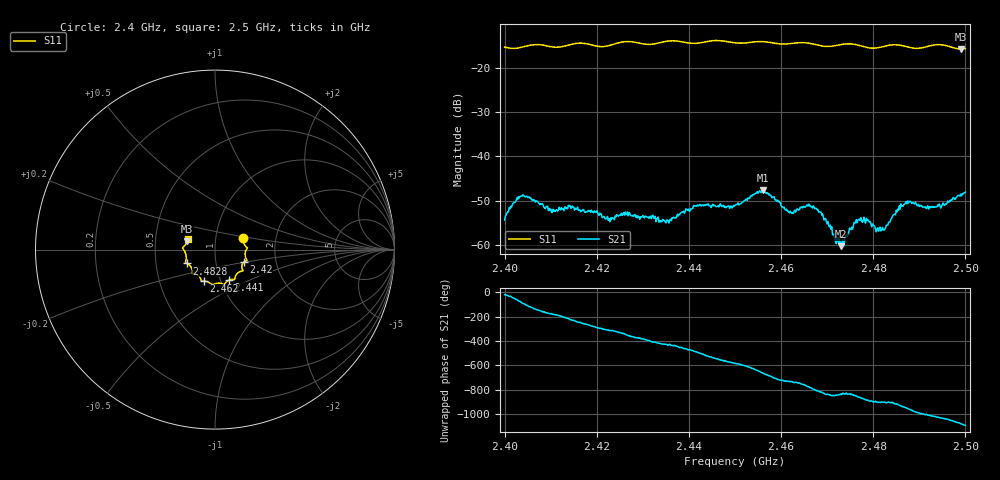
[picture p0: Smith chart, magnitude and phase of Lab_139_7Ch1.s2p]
# Hz S RI R 50
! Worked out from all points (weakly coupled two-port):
!   601 points, 2.4 GHz to 2.5 GHz, reference 50 ohm
!   highest |S21| = -47.58 dB at 2.456 GHz (marker M1); lowest = -60.2 dB at 2.473 GHz (marker M2)
!   lowest |S11| = -15.8 dB at 2.499 GHz (marker M3), VSWR 1.39, Z = 36.5 + j3.49 ohm
!   |S11| at or under -10 dB: start of sweep to end of sweep
!   S12 and S22 are empty: the file has one direction only
!   S11 on the Smith chart (normalised r, x): 2.4 GHz: 1.36, +0.18; 2.42 GHz: 1.36, -0.20; 2.441 GHz: 1.10, -0.39; 2.462 GHz: 0.84, -0.30; 2.4828 GHz: 0.72, -0.11; 2.5 GHz: 0.73, +0.09
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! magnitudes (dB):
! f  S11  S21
! 2.4 GHz  -15.4  -54.3
! 2.4038 GHz  -15.4  -48.9
! 2.41 GHz  -15.3  -51.8
! 2.4167 GHz  -14.5  -52.2
! 2.42 GHz  -15.2  -52.2
! 2.4223 GHz  -15.1  -53.5
! 2.4267 GHz  -14.2  -52.5
! 2.4333 GHz  -14.5  -53.6
! 2.441 GHz  -14.6  -51.0
! 2.45 GHz  -14.5  -51.0
! 2.456 GHz  -14.2  -47.6
! 2.462 GHz  -14.6  -52.3
! 2.4667 GHz  -14.6  -51.2
! 2.473 GHz  -14.9  -60.2
! 2.4768 GHz  -15.0  -54.2
! 2.4808 GHz  -15.6  -56.3
! 2.4828 GHz  -15.1  -55.5
! 2.4833 GHz  -15.0  -54.8
! 2.4875 GHz  -15.4  -50.0
! 2.4933 GHz  -14.9  -51.3
! 2.499 GHz  -15.8  -48.5
! 2.5 GHz  -15.7  -48.0
